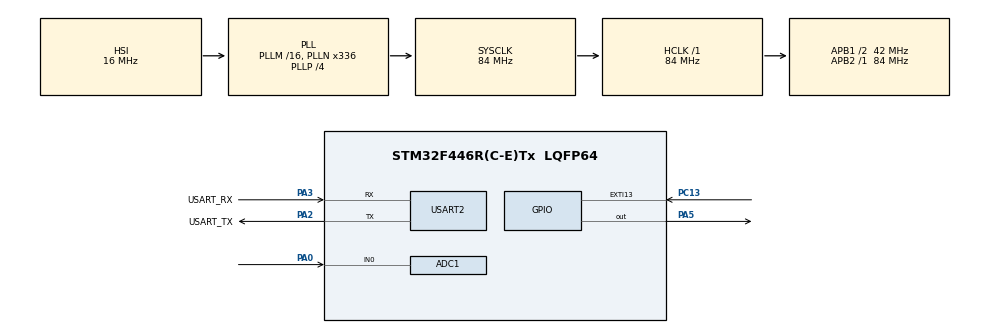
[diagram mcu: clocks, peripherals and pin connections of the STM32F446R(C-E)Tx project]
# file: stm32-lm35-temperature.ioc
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ADC1.Channel-0\#ChannelRegularConversion=ADC_CHANNEL_0
ADC1.NbrOfConversionFlag=1
ADC1.Rank-0\#ChannelRegularConversion=1
ADC1.SamplingTime-0\#ChannelRegularConversion=ADC_SAMPLETIME_144CYCLES
ADC1.master=1
Mcu.Family=STM32F4
Mcu.Name=STM32F446R(C-E)Tx
Mcu.Package=LQFP64
NUCLEO-F446RE.BUTTON=1
NUCLEO-F446RE.LD1=true
NVIC.EXTI15_10_IRQn=true\:0\:0\:false\:false\:true\:false\:true\:true
NVIC.PriorityGroup=NVIC_PRIORITYGROUP_0
PA0-WKUP.Signal=ADCx_IN0
PA13.GPIO_Label=TMS
PA13.Signal=SYS_JTMS-SWDIO
PA14.GPIO_Label=TCK
PA14.Signal=SYS_JTCK-SWCLK
PA2.GPIO_Label=USART_TX
PA2.Mode=Asynchronous
PA2.Signal=USART2_TX
PA3.GPIO_Label=USART_RX
PA3.Mode=Asynchronous
PA3.Signal=USART2_RX
PA5.Signal=GPIO_Output
PB3.GPIO_Label=SWO
PB3.Signal=SYS_JTDO-SWO
PC13.Signal=GPXTI13
PC14-OSC32_IN.Signal=RCC_OSC32_IN
PC15-OSC32_OUT.Signal=RCC_OSC32_OUT
PH0-OSC_IN.Signal=RCC_OSC_IN
PH1-OSC_OUT.Signal=RCC_OSC_OUT
ProjectManager.HeapSize=0x200
ProjectManager.StackSize=0x400
ProjectManager.TargetToolchain=STM32CubeIDE
RCC.AHBFreq_Value=84000000
RCC.APB1CLKDivider=RCC_HCLK_DIV2
RCC.APB1Freq_Value=42000000
RCC.APB1TimFreq_Value=84000000
RCC.APB2Freq_Value=84000000
RCC.APB2TimFreq_Value=84000000
RCC.CortexFreq_Value=84000000
RCC.FLatency-AdvancedSettings=FLASH_LATENCY_2
RCC.HCLKFreq_Value=84000000
RCC.HSE_VALUE=8000000
RCC.HSI_VALUE=16000000
RCC.LSE_VALUE=32768
RCC.PLLN=336
RCC.PLLP=RCC_PLLP_DIV4
RCC.SYSCLKFreq_VALUE=84000000
RCC.SYSCLKSource=RCC_SYSCLKSOURCE_PLLCLK
RCC.USBFreq_Value=168000000
RCC.VCOOutputFreq_Value=336000000
SH.ADCx_IN0.0=ADC1_IN0,IN0
USART2.VirtualMode=VM_ASYNC
VP_NUCLEO-F446RE_VS_BSP_COMMON.Mode=COMMON
board=NUCLEO-F446RE

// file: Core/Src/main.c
/* USER CODE BEGIN Header */
/**
 ******************************************************************************
 * @file           : main.c
 * @brief          : Main program body
 ******************************************************************************
 * @attention
 *
 * Copyright (c) 2026 STMicroelectronics.
 * All rights reserved.
 *
 * This software is licensed under terms that can be found in the LICENSE file
 * in the root directory of this software component.
 * If no LICENSE file comes with this software, it is provided AS-IS.
 *
 ******************************************************************************
 */
/* USER CODE END Header */
#include "main.h"

/* USER CODE BEGIN Includes */

#include <stdio.h>
#include <string.h>

/* USER CODE END Includes */

/* USER CODE BEGIN PD */

#define ADC_VREF       3.31f
#define ADC_MAX_VALUE  4095.0f
#define LM35_SCALE     0.010f

/* USER CODE END PD */

ADC_HandleTypeDef hadc1;

UART_HandleTypeDef huart2;

/* USER CODE BEGIN PV */

uint32_t adc_data = 0; //0-4095

float voltage = 0.0f;
float temperature = 0.0f;

char uart_buffer[100];

/* USER CODE END PV */

void SystemClock_Config(void);
static void MX_GPIO_Init(void);
static void MX_ADC1_Init(void);
static void MX_USART2_UART_Init(void);

int main(void) {

	/* MCU Configuration--------------------------------------------------------*/

	/* Reset of all peripherals, Initializes the Flash interface and the Systick. */
	HAL_Init();

	/* Configure the system clock */
	SystemClock_Config();

	/* Initialize all configured peripherals */
	MX_GPIO_Init();
	MX_ADC1_Init();
	MX_USART2_UART_Init();

	/* Initialize leds */
	BSP_LED_Init(LED2);

	/* Initialize USER push-button, will be used to trigger an interrupt each time it's pressed.*/
	BSP_PB_Init(BUTTON_USER, BUTTON_MODE_EXTI);

	/* Infinite loop */
	while (1) {

		/* USER CODE BEGIN 3 */

		if (HAL_ADC_Start(&hadc1) == HAL_OK) {
			if (HAL_ADC_PollForConversion(&hadc1, 100) == HAL_OK) {
				adc_data = HAL_ADC_GetValue(&hadc1);

				// Convert ADC value to voltage
				// V = ADC * 3.31 / 4095
				voltage = (float) adc_data * ADC_VREF / ADC_MAX_VALUE;

				// Convert voltage to temperature
				// T = V / 0.010
				temperature = voltage / LM35_SCALE;

				// Format UART message
				snprintf(uart_buffer, sizeof(uart_buffer),
						"ADC: %lu | Voltage: %.3f V | Temperature: %.2f C\r\n",
						adc_data, voltage, temperature);

				// Send data through UART
				HAL_UART_Transmit(&huart2, (uint8_t*) uart_buffer,
						strlen(uart_buffer),
						HAL_MAX_DELAY);
			}

			HAL_ADC_Stop(&hadc1);
		}

		HAL_Delay(1000);
	}

//	ADC: 256 | Voltage: 0.207 V | Temperature: 20.69 C
//	ADC: 235 | Voltage: 0.190 V | Temperature: 19.00 C
//	ADC: 250 | Voltage: 0.202 V | Temperature: 20.21 C
//	ADC: 254 | Voltage: 0.205 V | Temperature: 20.53 C
//	ADC: 284 | Voltage: 0.230 V | Temperature: 22.96 C
//	ADC: 293 | Voltage: 0.237 V | Temperature: 23.68 C
//	ADC: 275 | Voltage: 0.222 V | Temperature: 22.23 C
//	ADC: 280 | Voltage: 0.226 V | Temperature: 22.63 C
//	ADC: 308 | Voltage: 0.249 V | Temperature: 24.90 C
//	ADC: 311 | Voltage: 0.251 V | Temperature: 25.14 C
//	ADC: 257 | Voltage: 0.208 V | Temperature: 20.77 C

	/* USER CODE END 3 */
}

void SystemClock_Config(void) {
	RCC_OscInitTypeDef RCC_OscInitStruct = { 0 };
	RCC_ClkInitTypeDef RCC_ClkInitStruct = { 0 };

	/** Configure the main internal regulator output voltage
	 */
	__HAL_RCC_PWR_CLK_ENABLE();
	__HAL_PWR_VOLTAGESCALING_CONFIG(PWR_REGULATOR_VOLTAGE_SCALE3);

	/** Initializes the RCC Oscillators according to the specified parameters
	 * in the RCC_OscInitTypeDef structure.
	 */
	RCC_OscInitStruct.OscillatorType = RCC_OSCILLATORTYPE_HSI;
	RCC_OscInitStruct.HSIState = RCC_HSI_ON;
	RCC_OscInitStruct.HSICalibrationValue = RCC_HSICALIBRATION_DEFAULT;
	RCC_OscInitStruct.PLL.PLLState = RCC_PLL_ON;
	RCC_OscInitStruct.PLL.PLLSource = RCC_PLLSOURCE_HSI;
	RCC_OscInitStruct.PLL.PLLM = 16;
	RCC_OscInitStruct.PLL.PLLN = 336;
	RCC_OscInitStruct.PLL.PLLP = RCC_PLLP_DIV4;
	RCC_OscInitStruct.PLL.PLLQ = 2;
	RCC_OscInitStruct.PLL.PLLR = 2;
	if (HAL_RCC_OscConfig(&RCC_OscInitStruct) != HAL_OK) {
		Error_Handler();
	}

	/** Initializes the CPU, AHB and APB buses clocks
	 */
	RCC_ClkInitStruct.ClockType = RCC_CLOCKTYPE_HCLK | RCC_CLOCKTYPE_SYSCLK
			| RCC_CLOCKTYPE_PCLK1 | RCC_CLOCKTYPE_PCLK2;
	RCC_ClkInitStruct.SYSCLKSource = RCC_SYSCLKSOURCE_PLLCLK;
	RCC_ClkInitStruct.AHBCLKDivider = RCC_SYSCLK_DIV1;
	RCC_ClkInitStruct.APB1CLKDivider = RCC_HCLK_DIV2;
	RCC_ClkInitStruct.APB2CLKDivider = RCC_HCLK_DIV1;

	if (HAL_RCC_ClockConfig(&RCC_ClkInitStruct, FLASH_LATENCY_2) != HAL_OK) {
		Error_Handler();
	}
}

static void MX_ADC1_Init(void) {

	ADC_ChannelConfTypeDef sConfig = { 0 };

	/** Configure the global features of the ADC (Clock, Resolution, Data Alignment and number of conversion)
	 */
	hadc1.Instance = ADC1;
	hadc1.Init.ClockPrescaler = ADC_CLOCK_SYNC_PCLK_DIV4;
	hadc1.Init.Resolution = ADC_RESOLUTION_12B;
	hadc1.Init.ScanConvMode = DISABLE;
	hadc1.Init.ContinuousConvMode = DISABLE;
	hadc1.Init.DiscontinuousConvMode = DISABLE;
	hadc1.Init.ExternalTrigConvEdge = ADC_EXTERNALTRIGCONVEDGE_NONE;
	hadc1.Init.ExternalTrigConv = ADC_SOFTWARE_START;
	hadc1.Init.DataAlign = ADC_DATAALIGN_RIGHT;
	hadc1.Init.NbrOfConversion = 1;
	hadc1.Init.DMAContinuousRequests = DISABLE;
	hadc1.Init.EOCSelection = ADC_EOC_SINGLE_CONV;
	if (HAL_ADC_Init(&hadc1) != HAL_OK) {
		Error_Handler();
	}

	/** Configure for the selected ADC regular channel its corresponding rank in the sequencer and its sample time.
	 */
	sConfig.Channel = ADC_CHANNEL_0;
	sConfig.Rank = 1;
	sConfig.SamplingTime = ADC_SAMPLETIME_144CYCLES;
	if (HAL_ADC_ConfigChannel(&hadc1, &sConfig) != HAL_OK) {
		Error_Handler();
	}

}

static void MX_USART2_UART_Init(void) {

	huart2.Instance = USART2;
	huart2.Init.BaudRate = 115200;
	huart2.Init.WordLength = UART_WORDLENGTH_8B;
	huart2.Init.StopBits = UART_STOPBITS_1;
	huart2.Init.Parity = UART_PARITY_NONE;
	huart2.Init.Mode = UART_MODE_TX_RX;
	huart2.Init.HwFlowCtl = UART_HWCONTROL_NONE;
	huart2.Init.OverSampling = UART_OVERSAMPLING_16;
	if (HAL_UART_Init(&huart2) != HAL_OK) {
		Error_Handler();
	}

}

static void MX_GPIO_Init(void) {

	/* GPIO Ports Clock Enable */
	__HAL_RCC_GPIOC_CLK_ENABLE();
	__HAL_RCC_GPIOH_CLK_ENABLE();
	__HAL_RCC_GPIOA_CLK_ENABLE();
	__HAL_RCC_GPIOB_CLK_ENABLE();

}

void Error_Handler(void) {
	__disable_irq();
	while (1) {
	}
}
